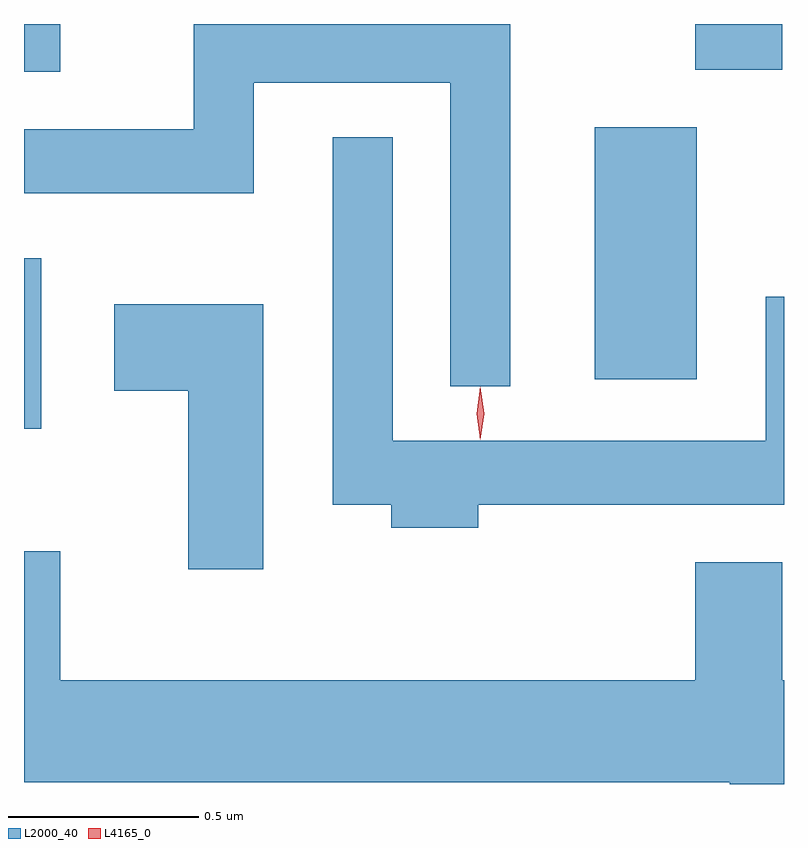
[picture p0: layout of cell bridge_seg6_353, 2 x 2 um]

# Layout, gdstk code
import gdstk
lib = gdstk.Library(unit=1e-6, precision=1e-09)
def R(c, l, rs):  # rectangles x0, y0, x1, y1
    for r in rs: c.add(gdstk.rectangle(r[:2], r[2:], *l))
def P(c, l, *ps):  # polygons
    for p in ps: c.add(gdstk.Polygon(p, *l))
L2000_40 = (2000, 40)
L4165_0 = (4165, 0)

bridge_seg6_353 = lib.new_cell('bridge_seg6_353')
R(bridge_seg6_353, L2000_40, [(1283.794,1553.186,1283.839,1553.634), (1285.296,1553.316,1285.564,1553.979), (1283.794,1554.126,1283.889,1554.251), (1285.561,1554.131,1285.789,1554.251)])
P(bridge_seg6_353, L2000_40, [(1285.074,1554.251),(1284.241,1554.251),(1284.241,1553.974),(1283.794,1553.974),(1283.794,1553.806),(1284.399,1553.806),(1284.399,1554.096),(1284.916,1554.096),(1284.916,1553.298),(1285.074,1553.298)],
  [(1284.989,1552.986),(1285.794,1552.986),(1285.794,1553.533),(1285.746,1553.533),(1285.746,1553.154),(1284.764,1553.154),(1284.764,1553.953),(1284.606,1553.953),(1284.606,1552.986),(1284.761,1552.986),(1284.761,1552.926),(1284.989,1552.926)],
  [(1284.424,1553.514),(1284.031,1553.514),(1284.031,1553.286),(1284.226,1553.286),(1284.226,1552.816),(1284.424,1552.816)],
  [(1285.794,1552.524),(1285.789,1552.524),(1285.789,1552.834),(1285.561,1552.834),(1285.561,1552.524),(1283.889,1552.524),(1283.889,1552.864),(1283.794,1552.864),(1283.794,1552.256),(1285.651,1552.256),(1285.651,1552.251),(1285.794,1552.251)])
P(bridge_seg6_353, L4165_0, [(1284.995,1553.159),(1284.994,1553.16),(1284.985,1553.226),(1284.994,1553.292),(1284.995,1553.293),(1284.995,1553.292),(1285.005,1553.226),(1284.995,1553.16)],
  [(1284.994,1553.157),(1284.985,1553.226),(1284.994,1553.296),(1284.995,1553.296),(1284.995,1553.296),(1285.005,1553.226),(1284.995,1553.157),(1284.995,1553.157)])

lib.write_gds('bridge_seg6_353.gds')
